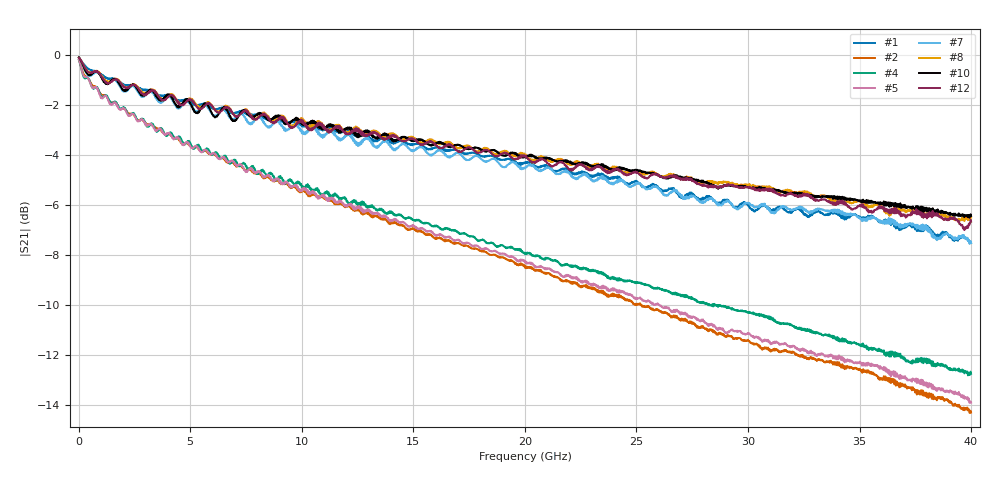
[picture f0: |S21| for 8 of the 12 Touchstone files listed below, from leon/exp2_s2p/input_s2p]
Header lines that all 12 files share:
! CHANNEL.1
! TR.MEASUREMENT
! CORRECTED.DATA
! RF.CORRECTION: FULL.FOUR.PORT.CAL.PORT.1.2.3.4
! AVERAGING.OFF
! IF.BANDWIDTH: 1KHZ
! SWEEPTYPE:  FREQ.SWEEP(Linear)
! Reference Plane Port Info
! PORT:  PORT1  PORT2
! DISTANCE:  0  m  0  m
! TIME:  0  s  0  s
! PHASE.OFFSET:  0 °  0 °
! LOSS:  0  dB  0  dB
! REF.LOSS:  0  dB  0  dB
! REF.FREQ:  0  Hz  0  Hz
! Power Info
! POWER:  -10  dBm  -10  dBm
! EFF.POWER:  -10  dBm  -10  dBm
! SOURCE.ATTEN:  0  dB  0  dB
! TEST.ATTEN:  0  dB  0  dB
# GHZ S RI R 50.0
! FREQ.GHZ  S11RE  S11IM  S21RE  S21IM  S12RE  S12IM  S22RE  S22IM
!; PortSelection: Port_12
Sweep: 10 MHz to 40 GHz
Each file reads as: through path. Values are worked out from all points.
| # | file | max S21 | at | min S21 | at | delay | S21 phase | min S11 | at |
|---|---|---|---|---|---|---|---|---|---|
| 1 | 1-L5-4.s2p | -0.09 dB | 10 MHz | -7.5 dB | 39.93 GHz | 678 ps | 144 deg at 20.01 GHz | -54.9 dB | 2.46 GHz |
| 2 | 1-L5-8.s2p | -0.18 dB | 10 MHz | -14.3 dB | 39.94 GHz | 1.29 ns | 39 deg at 20.01 GHz | -46.0 dB | 780 MHz |
| 3 | 1-L7-8.s2p | -0.13 dB | 10 MHz | -12.4 dB | 39.93 GHz | 1.29 ns | 30 deg at 20.01 GHz | -33.4 dB | 10 MHz |
| 4 | 1-L20-8.s2p | -0.17 dB | 10 MHz | -12.8 dB | 39.86 GHz | 1.28 ns | 100 deg at 20.01 GHz | -37.2 dB | 410 MHz |
| 5 | 2-L5-8.s2p | -0.15 dB | 10 MHz | -13.9 dB | 39.93 GHz | 1.29 ns | 44 deg at 20.01 GHz | -44.9 dB | 390 MHz |
| 6 | 2-L7-4.s2p | -0.06 dB | 10 MHz | -6.6 dB | 39.86 GHz | 682 ps | 121 deg at 20.01 GHz | -51.5 dB | 6.51 GHz |
| 7 | 2-L18-4.s2p | -0.07 dB | 10 MHz | -7.5 dB | 39.93 GHz | 679 ps | 140 deg at 20.01 GHz | -39.3 dB | 10 MHz |
| 8 | 2-L20-4.s2p | -0.08 dB | 10 MHz | -6.6 dB | 39.48 GHz | 674 ps | 179 deg at 20.01 GHz | -45.0 dB | 2.49 GHz |
| 9 | 3-L5-4.s2p | -0.07 dB | 10 MHz | -7.5 dB | 39.41 GHz | 678 ps | 144 deg at 20.01 GHz | -54.4 dB | 2.45 GHz |
| 10 | 3-L7-4.s2p | -0.07 dB | 10 MHz | -6.5 dB | 39.94 GHz | 682 ps | 121 deg at 20.01 GHz | -39.8 dB | 10 MHz |
| 11 | 3-L18-4.s2p | -0.07 dB | 10 MHz | -7.5 dB | 39.93 GHz | 680 ps | 134 deg at 20.01 GHz | -39.8 dB | 2.43 GHz |
| 12 | 3-L20-4.s2p | -0.09 dB | 10 MHz | -7.0 dB | 39.7 GHz | 673 ps | -177 deg at 20.01 GHz | -39.3 dB | 10 MHz |
